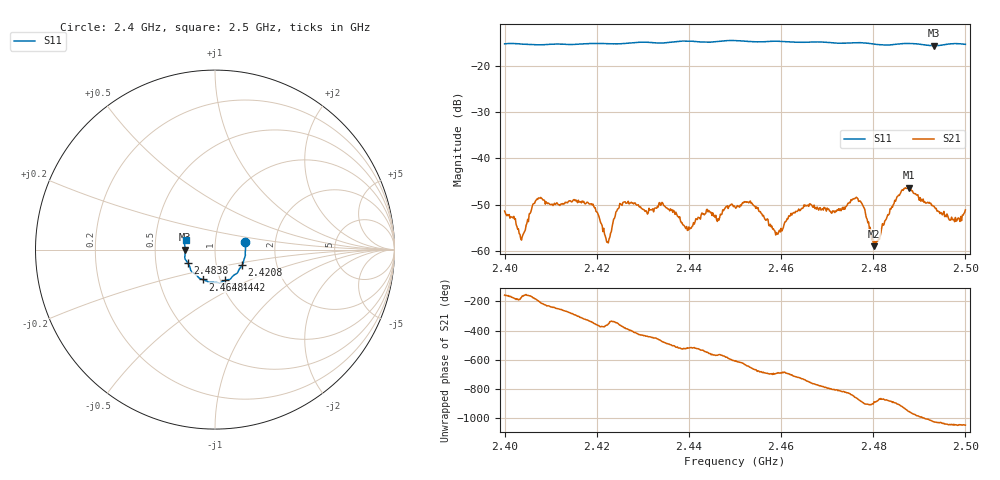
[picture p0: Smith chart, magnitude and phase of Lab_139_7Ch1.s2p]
# Hz S RI R 50
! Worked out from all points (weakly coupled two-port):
!   601 points, 2.4 GHz to 2.5 GHz, reference 50 ohm
!   highest |S21| = -46.35 dB at 2.4877 GHz (marker M1); lowest = -59.0 dB at 2.4802 GHz (marker M2)
!   lowest |S11| = -15.6 dB at 2.4932 GHz (marker M3), VSWR 1.40, Z = 35.8 - j0.0858 ohm
!   |S11| at or under -10 dB: start of sweep to end of sweep
!   S12 and S22 are empty: the file has one direction only
!   S11 on the Smith chart (normalised r, x): 2.4 GHz: 1.40, +0.12; 2.4208 GHz: 1.33, -0.24; 2.4442 GHz: 1.05, -0.37; 2.4648 GHz: 0.83, -0.28; 2.4838 GHz: 0.73, -0.11; 2.5 GHz: 0.72, +0.08
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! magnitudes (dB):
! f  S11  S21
! 2.4 GHz  -15.2  -51.4
! 2.4037 GHz  -15.3  -57.7
! 2.4073 GHz  -15.4  -48.6
! 2.4167 GHz  -15.3  -49.6
! 2.4208 GHz  -15.2  -53.9
! 2.4223 GHz  -15.2  -58.2
! 2.4255 GHz  -15.2  -50.2
! 2.4333 GHz  -15.0  -50.5
! 2.4398 GHz  -14.6  -55.5
! 2.4442 GHz  -14.9  -51.6
! 2.45 GHz  -14.5  -50.6
! 2.4537 GHz  -14.8  -49.7
! 2.4593 GHz  -14.7  -56.4
! 2.4648 GHz  -14.9  -50.6
! 2.4667 GHz  -14.8  -50.1
! 2.4767 GHz  -15.0  -48.7
! 2.4802 GHz  -15.3  -59.0
! 2.4833 GHz  -15.5  -52.2
! 2.4838 GHz  -15.4  -51.0
! 2.4877 GHz  -15.1  -46.4
! 2.4932 GHz  -15.6  -50.4
! 2.5 GHz  -15.3  -51.2
